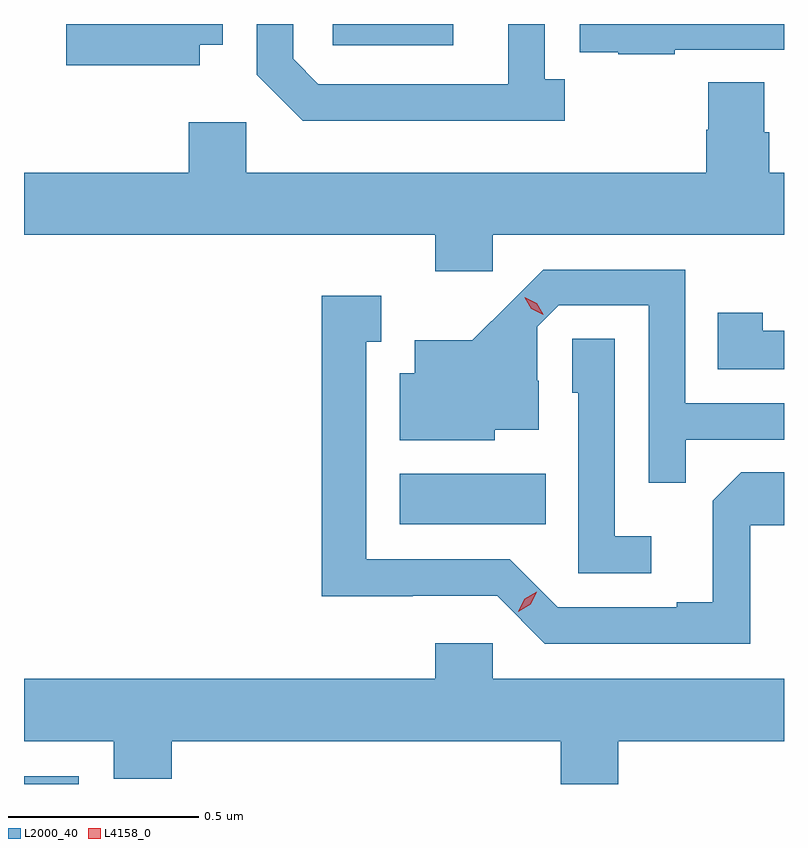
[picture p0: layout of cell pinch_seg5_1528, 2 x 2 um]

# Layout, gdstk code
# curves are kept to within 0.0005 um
import gdstk
lib = gdstk.Library(unit=1e-6, precision=1e-09)
def R(c, l, rs):  # rectangles x0, y0, x1, y1
    for r in rs: c.add(gdstk.rectangle(r[:2], r[2:], *l))
def P(c, l, *ps):  # polygons
    for p in ps: c.add(gdstk.Polygon(p, *l))
L2000_40 = (2000, 40)
L4158_0 = (4158, 0)

pinch_seg5_1528 = lib.new_cell('pinch_seg5_1528')
R(pinch_seg5_1528, L2000_40, [(137.715,891.279,137.859,891.3), (138.704,891.962,139.088,892.096), (138.528,893.223,138.844,893.279)])
P(pinch_seg5_1528, L2000_40, [(138.178,893.225),(138.238,893.225),(138.238,893.279),(137.826,893.279),(137.826,893.171),(138.178,893.171)],
  [(139.138,893.134),(139.086,893.134),(139.086,893.279),(138.989,893.279),(138.989,893.121),(138.489,893.121),(138.423,893.187),(138.423,893.279),(138.327,893.279),(138.327,893.145),(138.448,893.024),(139.138,893.024)],
  [(139.427,893.211),(139.715,893.211),(139.715,893.279),(139.177,893.279),(139.177,893.205),(139.279,893.205),(139.279,893.199),(139.427,893.199)],
  [(138.948,892.724),(139.715,892.724),(139.715,892.888),(139.676,892.888),(139.676,892.994),(139.663,892.994),(139.663,893.126),(139.516,893.126),(139.516,893.001),(139.511,893.001),(139.511,892.888),(138.3,892.888),(138.3,893.02),(138.149,893.02),(138.149,892.888),(137.715,892.888),(137.715,892.724),(138.797,892.724),(138.797,892.629),(138.948,892.629)],
  [(139.457,892.185),(139.715,892.185),(139.715,892.281),(139.455,892.281),(139.455,892.632),(139.082,892.632),(138.895,892.447),(138.743,892.447),(138.743,892.36),(138.704,892.36),(138.704,892.184),(138.954,892.184),(138.954,892.211),(139.069,892.211),(139.069,892.34),(139.065,892.34),(139.065,892.482),(139.122,892.539),(139.359,892.539),(139.359,892.072),(139.457,892.072)],
  [(139.626,891.96),(139.715,891.96),(139.715,892.1),(139.603,892.1),(139.527,892.024),(139.527,891.757),(139.433,891.757),(139.433,891.744),(139.119,891.744),(138.993,891.87),(138.616,891.87),(138.616,892.443),(138.655,892.443),(138.655,892.564),(138.498,892.564),(138.498,891.773),(138.738,891.773),(138.738,891.774),(138.96,891.774),(139.086,891.648),(139.626,891.648)],
  [(139.715,892.472),(139.659,892.472),(139.659,892.519),(139.54,892.519),(139.54,892.371),(139.715,892.371)],
  [(139.366,891.931),(139.269,891.931),(139.269,892.451),(139.158,892.451),(139.158,892.308),(139.173,892.308),(139.173,891.834),(139.366,891.834)],
  [(139.279,891.392),(139.715,891.392),(139.715,891.556),(138.948,891.556),(138.948,891.649),(138.797,891.649),(138.797,891.556),(137.715,891.556),(137.715,891.392),(137.951,891.392),(137.951,891.293),(138.104,891.293),(138.104,891.392),(139.127,891.392),(139.127,891.279),(139.279,891.279)])
P(pinch_seg5_1528, L4158_0, [(139.081,892.514),(139.05,892.53),(139.033,892.559),(139.033,892.56),(139.033,892.56),(139.064,892.544),(139.081,892.515),(139.081,892.514)],
  [(139.016,891.732),(139.016,891.733),(139.033,891.766),(139.064,891.785),(139.064,891.785),(139.064,891.785),(139.048,891.752),(139.016,891.732)])

lib.write_gds('pinch_seg5_1528.gds')
